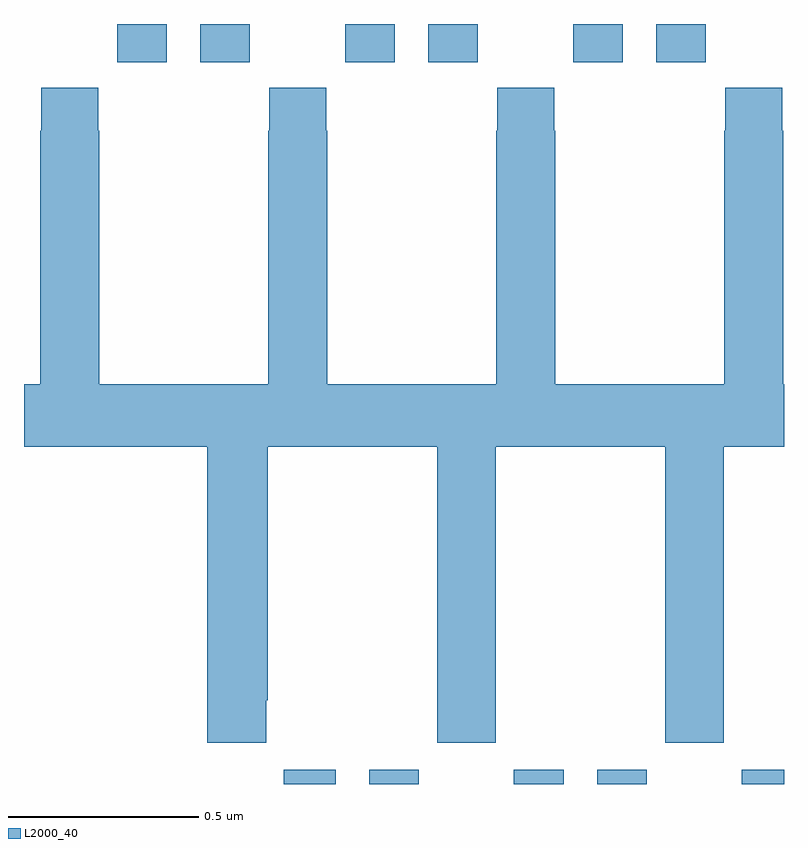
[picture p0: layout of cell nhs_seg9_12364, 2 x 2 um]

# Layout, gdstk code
import gdstk
lib = gdstk.Library(unit=1e-6, precision=1e-09)
def R(c, l, rs):  # rectangles x0, y0, x1, y1
    for r in rs: c.add(gdstk.rectangle(r[:2], r[2:], *l))
def P(c, l, *ps):  # polygons
    for p in ps: c.add(gdstk.Polygon(p, *l))
L2000_40 = (2000, 40)

nhs_seg9_12364 = lib.new_cell('nhs_seg9_12364')
R(nhs_seg9_12364, L2000_40, [(267.683,1227.5,267.82,1227.538), (267.908,1227.5,268.039,1227.538), (268.289,1227.5,268.42,1227.538), (268.508,1227.5,268.639,1227.538), (268.889,1227.5,269,1227.538), (267.246,1229.4,267.376,1229.5), (267.464,1229.4,267.594,1229.5), (267.846,1229.4,267.976,1229.5), (268.064,1229.4,268.194,1229.5), (268.446,1229.4,268.576,1229.5), (268.664,1229.4,268.794,1229.5)])
P(nhs_seg9_12364, L2000_40, [(267.637,1227.721),(267.642,1227.721),(267.642,1228.388),(268.087,1228.388),(268.087,1227.609),(268.242,1227.609),(268.242,1228.388),(268.687,1228.388),(268.687,1227.609),(268.842,1227.609),(268.842,1228.388),(269,1228.388),(269,1228.552),(268.998,1228.552),(268.998,1229.219),(268.995,1229.219),(268.995,1229.332),(268.845,1229.332),(268.845,1229.219),(268.843,1229.219),(268.843,1228.552),(268.398,1228.552),(268.398,1229.219),(268.395,1229.219),(268.395,1229.332),(268.245,1229.332),(268.245,1229.219),(268.243,1229.219),(268.243,1228.552),(267.798,1228.552),(267.798,1229.219),(267.795,1229.219),(267.795,1229.332),(267.645,1229.332),(267.645,1229.219),(267.643,1229.219),(267.643,1228.552),(267.198,1228.552),(267.198,1229.219),(267.195,1229.219),(267.195,1229.332),(267.045,1229.332),(267.045,1229.219),(267.043,1229.219),(267.043,1228.552),(267,1228.552),(267,1228.388),(267.482,1228.388),(267.482,1227.609),(267.637,1227.609)])

lib.write_gds('nhs_seg9_12364.gds')
